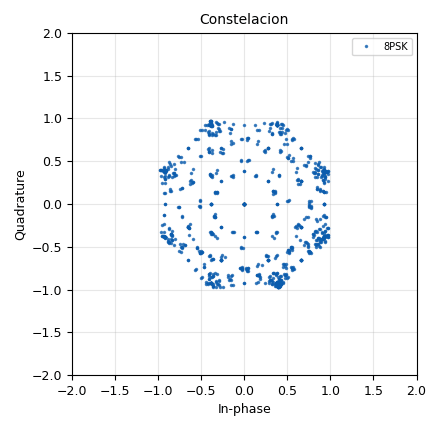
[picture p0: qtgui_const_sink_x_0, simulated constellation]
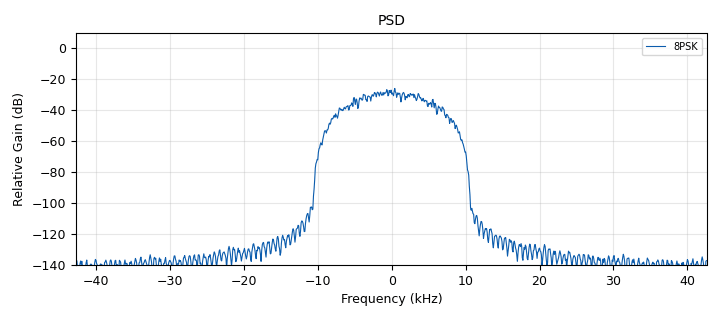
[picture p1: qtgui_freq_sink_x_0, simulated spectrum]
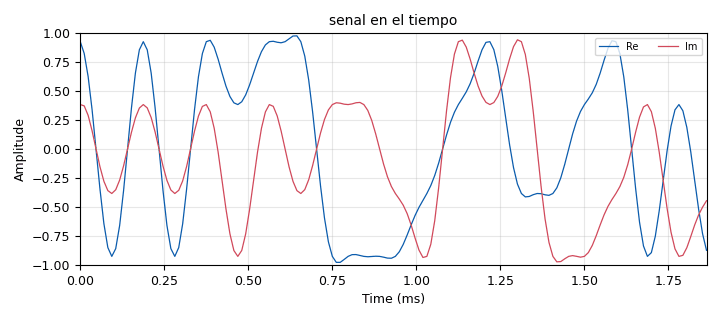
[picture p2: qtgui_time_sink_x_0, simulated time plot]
<?xml version='1.0' encoding='utf-8'?>
<?grc format='1' created='3.7.13'?>
<flow_graph>
<block>
<key>options</key>
<param><key>id</key><value>top_block</value></param>
<param><key>category</key><value>Custom</value></param>
<param><key>generate_options</key><value>qt_gui</value></param>
<param><key>run</key><value>run_stop</value></param>
</block>
<block>
<key>variable</key>
<param><key>id</key><value>Bps</value></param>
<param><key>value</key><value>numpy.log2(M)</value></param>
</block>
<block>
<key>variable</key>
<param><key>id</key><value>M</value></param>
<param><key>value</key><value>8</value></param>
</block>
<block>
<key>variable_constellation</key>
<param><key>id</key><value>MiConstelacion</value></param>
<param><key>const_points</key><value>digital.constellation_8psk().points()</value></param>
<param><key>type</key><value>calcdist</value></param>
<param><key>dims</key><value>1</value></param>
<param><key>rot_sym</key><value>4</value></param>
<param><key>precision</key><value>8</value></param>
<param><key>sym_map</key><value>[0, 1, 2, 3,4,5,6,7]</value></param>
</block>
<block>
<key>variable</key>
<param><key>id</key><value>Rb</value></param>
<param><key>value</key><value>32000</value></param>
</block>
<block>
<key>variable</key>
<param><key>id</key><value>Rs</value></param>
<param><key>value</key><value>Rb/Bps</value></param>
</block>
<block>
<key>variable</key>
<param><key>id</key><value>Sps</value></param>
<param><key>value</key><value>8</value></param>
</block>
<block>
<key>variable</key>
<param><key>id</key><value>ntaps</value></param>
<param><key>value</key><value>128</value></param>
</block>
<block>
<key>variable</key>
<param><key>id</key><value>rolloff</value></param>
<param><key>value</key><value>1</value></param>
</block>
<block>
<key>variable_qtgui_check_box</key>
<param><key>id</key><value>run_stop</value></param>
<param><key>value</key><value>True</value></param>
<param><key>false</key><value>False</value></param>
<param><key>gui_hint</key><value>0,0,1,1</value></param>
<param><key>label</key><value>Inicial/Parar</value></param>
<param><key>true</key><value>True</value></param>
<param><key>type</key><value>int</value></param>
</block>
<block>
<key>variable</key>
<param><key>id</key><value>samp_rate</value></param>
<param><key>value</key><value>Rs*Sps</value></param>
</block>
<block>
<key>analog_random_source_x</key>
<param><key>id</key><value>analog_random_source_x_0</value></param>
<param><key>max</key><value>M</value></param>
<param><key>min</key><value>0</value></param>
<param><key>num_samps</key><value>100000000</value></param>
<param><key>type</key><value>byte</value></param>
<param><key>repeat</key><value>True</value></param>
</block>
<block>
<key>blocks_complex_to_float</key>
<param><key>id</key><value>blocks_complex_to_float_0</value></param>
</block>
<block>
<key>blocks_file_sink</key>
<param><key>id</key><value>blocks_file_sink_0_0_0_0</value></param>
<param><key>file</key><value>/media/uis-e3t/DATADRIVE1/MisGitHub/Libro_su_software/Generacion_de_las_figuras_del_libro/capitulo4/diagramas de ojo/waveform/senal0</value></param>
<param><key>type</key><value>float</value></param>
</block>
<block>
<key>blocks_file_sink</key>
<param><key>id</key><value>blocks_file_sink_0_0_0_1</value></param>
<param><key>file</key><value>/media/uis-e3t/DATADRIVE1/MisGitHub/Libro_su_software/Generacion_de_las_figuras_del_libro/capitulo4/diagramas de ojo/waveform/senal1</value></param>
<param><key>type</key><value>float</value></param>
</block>
<block>
<key>digital_chunks_to_symbols_xx</key>
<param><key>id</key><value>digital_chunks_to_symbols_xx_0</value></param>
<param><key>dimension</key><value>1</value></param>
<param><key>in_type</key><value>byte</value></param>
<param><key>out_type</key><value>complex</value></param>
<param><key>symbol_table</key><value>MiConstelacion.points()</value></param>
</block>
<block>
<key>import</key>
<param><key>id</key><value>import_0</value></param>
<param><key>import</key><value>import numpy</value></param>
</block>
<block>
<key>interp_fir_filter_xxx</key>
<param><key>id</key><value>interp_fir_filter_xxx_0_0_0_0_0_2</value></param>
<param><key>interp</key><value>Sps</value></param>
<param><key>taps</key><value>wform.rcos(Sps,ntaps,rolloff)</value></param>
<param><key>type</key><value>ccf</value></param>
</block>
<block>
<key>qtgui_const_sink_x</key>
<param><key>id</key><value>qtgui_const_sink_x_0</value></param>
<param><key>gui_hint</key><value>2,1,1,1</value></param>
<param><key>label1</key><value>8PSK</value></param>
<param><key>style1</key><value>1</value></param>
<param><key>name</key><value>"Constelacion"</value></param>
<param><key>size</key><value>1024</value></param>
<param><key>type</key><value>complex</value></param>
</block>
<block>
<key>qtgui_freq_sink_x</key>
<param><key>id</key><value>qtgui_freq_sink_x_0</value></param>
<param><key>average</key><value>0.05</value></param>
<param><key>bw</key><value>samp_rate</value></param>
<param><key>fc</key><value>0</value></param>
<param><key>fftsize</key><value>1024</value></param>
<param><key>gui_hint</key><value>2,0,1,1</value></param>
<param><key>label1</key><value>8PSK</value></param>
<param><key>width1</key><value>3</value></param>
<param><key>name</key><value>"PSD"</value></param>
<param><key>showports</key><value>True</value></param>
<param><key>type</key><value>complex</value></param>
<param><key>wintype</key><value>firdes.WIN_BLACKMAN_hARRIS</value></param>
</block>
<block>
<key>qtgui_time_sink_x</key>
<param><key>id</key><value>qtgui_time_sink_x_0</value></param>
<param><key>gui_hint</key><value>1,0,1,2</value></param>
<param><key>color1</key><value>"blue"</value></param>
<param><key>label1</key><value>Re</value></param>
<param><key>width1</key><value>3</value></param>
<param><key>color2</key><value>"red"</value></param>
<param><key>label2</key><value>Im</value></param>
<param><key>width2</key><value>3</value></param>
<param><key>name</key><value>"senal en el tiempo"</value></param>
<param><key>size</key><value>20*Sps</value></param>
<param><key>srate</key><value>samp_rate</value></param>
<param><key>type</key><value>complex</value></param>
</block>
<block>
<key>virtual_sink</key>
<param><key>id</key><value>virtual_sink_0</value></param>
</block>
<block>
<key>virtual_source</key>
<param><key>id</key><value>virtual_source_0</value></param>
</block>
<block>
<key>epy_module</key>
<param><key>id</key><value>wform</value></param>
<param><key>source_code</key><value>import math
import numpy
#######################################################
##        Hecho por Homero Ortega Boada              ##
##        comdiguis@saber.uis.edu.co                 ##
##     Universidad Industrial de Santander           ##
#######################################################

#######################################################
##               Forma rectangular                   ##
#######################################################                       
def rect(Sps):
    return Sps*[1.,]

#######################################################
##               Forma de Nyquist                    ##
#######################################################                       
def nyq(Sps,ntaps):
    n=numpy.linspace(-int(ntaps/2), int(ntaps/2-1),ntaps)
    h=numpy.sinc(n/Sps)
#    return h/numpy.amax(h)
    return h
#######################################################
##               Forma Coseno Alzado                 ##
#######################################################                       
def rcos(Sps,ntaps,beta):
    if beta==0:
        h=nyq(Sps,ntaps)
    else:
        h=ntaps*[0,]
        for n in range(ntaps):
            k=n-ntaps/2. # esto es para que h[n] quede centrada en la mitad del vector
            if abs(k)==Sps/(2.*beta):
                h[n]=numpy.sinc(1./(2.*beta))*math.pi/4.
            else:
                h[n]=numpy.sinc(k/Sps)*math.cos(beta*k*math.pi/Sps)/(1.-(2.*beta*k/Sps)**2)                
    Amp=numpy.amax(h)
    return h/Amp
#######################################################
##            Forma Raiz de Coseno Alzado            ##
#######################################################                       

def rrcos(Sps,ntaps,beta):
    if beta==0:
        h=nyq(Sps,ntaps)
    else:
        h=ntaps*[0,]
        beta4=4.*beta
        for n in range(ntaps):
            k=n-ntaps/2. # esto es para que h[n] quede centrada en la mitad del vector
            if k==0:
                h[n]=1+beta*(4./math.pi-1.)
            elif abs(k)==Sps/beta4:
                ha=(1.+2./math.pi)*math.sin(math.pi/beta4)
                hb=(1.-2./math.pi)*math.cos(math.pi/beta4)
                h[n]=(ha+hb)*beta/math.sqrt(2.)
            else:
                ks=k/Sps
                kspi=math.pi*ks
                Num=math.sin(kspi*(1-beta))+beta4*ks*math.cos(kspi*(1+beta))
                Den=kspi*(1.-(beta4*ks)**2)
                h[n]=Num/Den                
    Amp=numpy.amax(h)
    return h/Amp
</value></param>
</block>
<connection><source_block_id>analog_random_source_x_0</source_block_id><sink_block_id>digital_chunks_to_symbols_xx_0</sink_block_id><source_key>0</source_key><sink_key>0</sink_key></connection>
<connection><source_block_id>blocks_complex_to_float_0</source_block_id><sink_block_id>blocks_file_sink_0_0_0_1</sink_block_id><source_key>1</source_key><sink_key>0</sink_key></connection>
<connection><source_block_id>blocks_complex_to_float_0</source_block_id><sink_block_id>blocks_file_sink_0_0_0_0</sink_block_id><source_key>0</source_key><sink_key>0</sink_key></connection>
<connection><source_block_id>digital_chunks_to_symbols_xx_0</source_block_id><sink_block_id>interp_fir_filter_xxx_0_0_0_0_0_2</sink_block_id><source_key>0</source_key><sink_key>0</sink_key></connection>
<connection><source_block_id>interp_fir_filter_xxx_0_0_0_0_0_2</source_block_id><sink_block_id>blocks_complex_to_float_0</sink_block_id><source_key>0</source_key><sink_key>0</sink_key></connection>
<connection><source_block_id>interp_fir_filter_xxx_0_0_0_0_0_2</source_block_id><sink_block_id>virtual_sink_0</sink_block_id><source_key>0</source_key><sink_key>0</sink_key></connection>
<connection><source_block_id>virtual_source_0</source_block_id><sink_block_id>qtgui_const_sink_x_0</sink_block_id><source_key>0</source_key><sink_key>0</sink_key></connection>
<connection><source_block_id>virtual_source_0</source_block_id><sink_block_id>qtgui_freq_sink_x_0</sink_block_id><source_key>0</source_key><sink_key>0</sink_key></connection>
<connection><source_block_id>virtual_source_0</source_block_id><sink_block_id>qtgui_time_sink_x_0</sink_block_id><source_key>0</source_key><sink_key>0</sink_key></connection>
</flow_graph>
